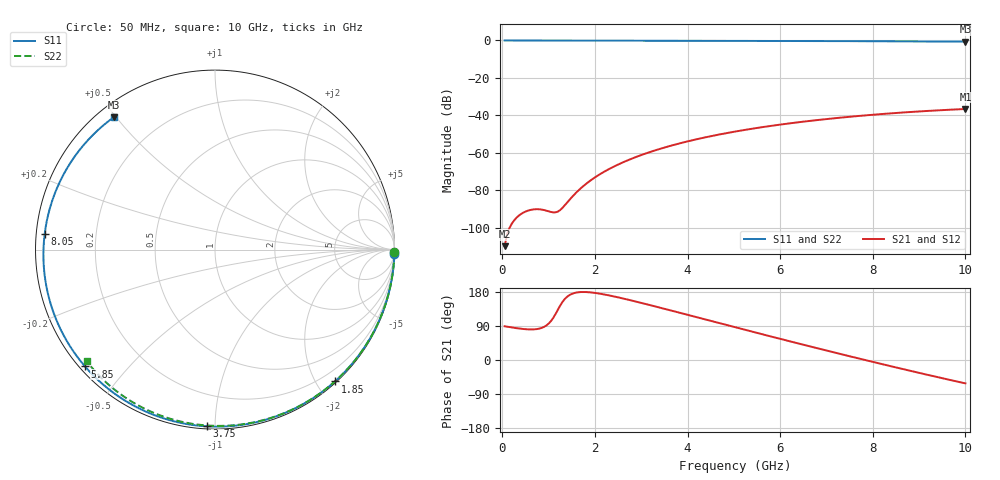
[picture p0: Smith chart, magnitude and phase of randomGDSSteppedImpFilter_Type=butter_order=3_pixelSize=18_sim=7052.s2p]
! freq	dB(S11)	phase(S11)	dB(S12)	phase(S12)
!  dB(S21)	phase(S21)	dB(S22)	phase(S22)
!S-par simulation data
#  GHz  S  DB  R 50
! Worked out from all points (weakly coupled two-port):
!   200 points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, 50 MHz to 10 GHz, reference 50 ohm
!   highest |S21| = -36.62 dB at 10 GHz (marker M1); lowest = -109.9 dB at 50 MHz (marker M2)
!   lowest |S11| = -0.6 dB at 10 GHz (marker M3), VSWR 26.97, Z = 2.31 + j24.7 ohm
!   |S11| at or under -10 dB: nowhere
!   |S22| runs from -0.5 to 0.0 dB; largest |S21 - S12| = 0
!   S11 on the Smith chart (normalised r, x): 50 MHz: 0, -86; 1.85 GHz: 0.02, -2.26; 3.75 GHz: 0.01, -0.95; 5.85 GHz: 0.02, -0.38; 8.05 GHz: 0.02, +0.05; 10 GHz: 0.05, +0.49
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0.05  -0.00 -1.3  -109.93 89.0  -109.93 89.0  -0.00 -0.8
0.4  -0.01 -10.5  -92.82 82.5  -92.82 82.5  -0.01 -6.4
0.8  -0.03 -21.0  -90.22 82.9  -90.22 82.9  -0.02 -12.8
1.2  -0.04 -31.3  -91.45 132.7  -91.45 132.7  -0.02 -19.1
1.65  -0.05 -42.7  -80.01 178.9  -80.01 178.9  -0.03 -26.2
1.75  -0.06 -45.2  -77.81 179.5  -77.81 179.5  -0.04 -27.7
1.85  -0.06 -47.7  -75.83 179.1  -75.83 179.1  -0.04 -29.3
2.15  -0.07 -55.1  -70.86 174.1  -70.86 174.1  -0.04 -33.9
2.5  -0.08 -63.6  -66.32 165.4  -66.32 165.4  -0.05 -39.3
2.9  -0.09 -73.2  -62.16 153.8  -62.16 153.8  -0.06 -45.3
3.4  -0.11 -84.8  -57.97 138.3  -57.97 138.3  -0.07 -52.7
3.75  -0.12 -92.7  -55.51 127.2  -55.51 127.2  -0.08 -57.8
4.4  -0.15 -107.1  -51.69 106.5  -51.69 106.5  -0.10 -67.2
5.05  -0.18 -121.1  -48.59 85.7  -48.59 85.7  -0.12 -76.2
5.85  -0.23 -138.1  -45.48 60.5  -45.48 60.5  -0.15 -87.1
6.7  -0.29 -156.0  -42.82 34.2  -42.82 34.2  -0.19 -98.2
7.4  -0.35 -170.9  -41.01 12.9  -41.01 12.9  -0.23 -107.1
8.05  -0.42 174.7  -39.60 -6.5  -39.60 -6.5  -0.28 -115.2
8.35  -0.45 167.9  -39.03 -15.3  -39.03 -15.3  -0.30 -118.9
9.15  -0.54 149.0  -37.71 -38.2  -37.71 -38.2  -0.38 -128.7
9.55  -0.59 139.0  -37.16 -49.4  -37.16 -49.4  -0.42 -133.6
10  -0.64 127.4  -36.62 -61.7  -36.62 -61.7  -0.47 -139.1
